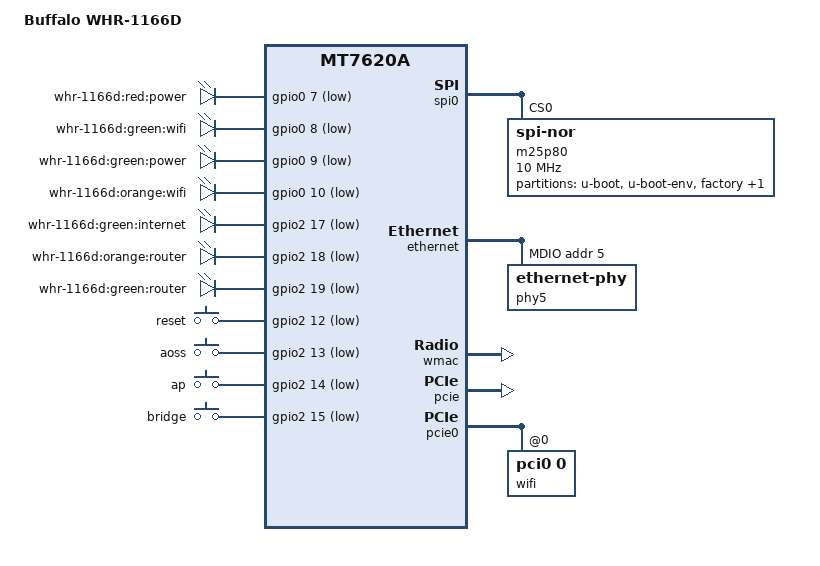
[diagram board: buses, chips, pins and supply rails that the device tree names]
/dts-v1/;

#include "mt7620a.dtsi"

#include <dt-bindings/gpio/gpio.h>
#include <dt-bindings/input/input.h>

/ {
	compatible = "buffalo,whr-1166d", "ralink,mt7620a-soc";
	model = "Buffalo WHR-1166D";

	aliases {
		led-boot = &led_power_green;
		led-failsafe = &led_power_green;
		led-running = &led_power_green;
		led-upgrade = &led_power_green;
	};

	gpio-leds {
		compatible = "gpio-leds";

		power {
			label = "whr-1166d:red:power";
			gpios = <&gpio0 7 GPIO_ACTIVE_LOW>;
		};

		wifi {
			label = "whr-1166d:green:wifi";
			gpios = <&gpio0 8 GPIO_ACTIVE_LOW>;
		};

		led_power_green: power2 {
			label = "whr-1166d:green:power";
			gpios = <&gpio0 9 GPIO_ACTIVE_LOW>;
		};

		wifi2 {
			label = "whr-1166d:orange:wifi";
			gpios = <&gpio0 10 GPIO_ACTIVE_LOW>;
		};

		internet {
			label = "whr-1166d:green:internet";
			gpios = <&gpio2 17 GPIO_ACTIVE_LOW>;
		};

		router {
			label = "whr-1166d:orange:router";
			gpios = <&gpio2 18 GPIO_ACTIVE_LOW>;
		};

		router2 {
			label = "whr-1166d:green:router";
			gpios = <&gpio2 19 GPIO_ACTIVE_LOW>;
		};
	};

	gpio-keys-polled {
		compatible = "gpio-keys-polled";
		poll-interval = <20>;

		reset {
			label = "reset";
			gpios = <&gpio2 12 GPIO_ACTIVE_LOW>;
			linux,code = <KEY_RESTART>;
		};

		aoss {
			label = "aoss";
			gpios = <&gpio2 13 GPIO_ACTIVE_LOW>;
			linux,code = <KEY_WPS_BUTTON>;
		};

		ap {
			label = "ap";
			gpios = <&gpio2 14 GPIO_ACTIVE_LOW>;
			linux,code = <BTN_0>;
			linux,input-type = <EV_SW>;
		};

		bridge {
			label = "bridge";
			gpios = <&gpio2 15 GPIO_ACTIVE_LOW>;
			linux,code = <BTN_0>;
			linux,input-type = <EV_SW>;
		};
	};
};

&gpio2 {
	status = "okay";
};

&spi0 {
	status = "okay";

	m25p80@0 {
		compatible = "jedec,spi-nor";
		reg = <0>;
		spi-max-frequency = <10000000>;

		partitions {
			compatible = "fixed-partitions";
			#address-cells = <1>;
			#size-cells = <1>;

			partition@0 {
				label = "u-boot";
				reg = <0x0 0x30000>;
				read-only;
			};

			partition@30000 {
				label = "u-boot-env";
				reg = <0x30000 0x10000>;
				read-only;
			};

			factory: partition@40000 {
				label = "factory";
				reg = <0x40000 0x10000>;
				read-only;
			};

			partition@50000 {
				compatible = "denx,uimage";
				label = "firmware";
				reg = <0x50000 0xfb0000>;
			};
		};
	};
};

&pinctrl {
	state_default: pinctrl0 {
		gpio {
			ralink,group = "i2c", "uartf", "wled", "nd_sd";
			ralink,function = "gpio";
		};
	};
};

&ethernet {
	pinctrl-names = "default";
	pinctrl-0 = <&rgmii1_pins &mdio_pins>;

	port@5 {
		status = "okay";
		phy-handle = <&phy5>;
		phy-mode = "rgmii";
	};

	mdio-bus {
		status = "okay";

		phy5: ethernet-phy@5 {
			reg = <5>;
			phy-mode = "rgmii-rxid";
		};
	};
};

&gsw {
	mediatek,port4 = "ephy";
};

&wmac {
	ralink,mtd-eeprom = <&factory 0>;
};

&pcie {
	status = "okay";
};

&pcie0 {
	wifi@0,0 {
		compatible = "pci0,0";
		reg = <0x0000 0 0 0 0>;
		mediatek,mtd-eeprom = <&factory 0x8000>;
		ieee80211-freq-limit = <5000000 6000000>;
	};
};
